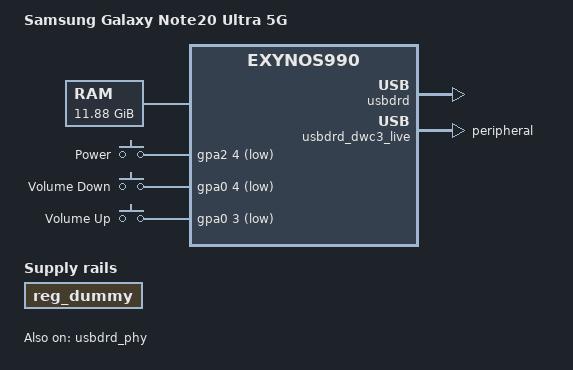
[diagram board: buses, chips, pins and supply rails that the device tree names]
// SPDX-License-Identifier: GPL-2.0 OR BSD-3-Clause
/*
 * Samsung Galaxy Note20 Ultra 5G (c2s/SM-N986B) device tree source
 *
 * Derived from exynos990-c1s.dts (Igor Belwon). Display, memory and keys
 * taken from c1s/x1s; all device-specific values are untested.
 */

/dts-v1/;
#include "exynos990.dtsi"
#include "c2s-overlay-anchors.dtsi"
#include <dt-bindings/gpio/gpio.h>
#include <dt-bindings/input/input.h>
#include <dt-bindings/interrupt-controller/irq.h>

/ {
	model = "Samsung Galaxy Note20 Ultra 5G";
	compatible = "samsung,c2s", "samsung,exynos990";

	/*
	 * Stock root cell format: lk3rd's add_dt_memory_node() overwrites
	 * /memory reg with 3-cell entries and of_flat_dt_get_addr_size_prop()
	 * only accepts reg blocks whose length is a multiple of
	 * (dt_root_addr_cells + dt_root_size_cells) * 4 == 12 bytes here.
	 * With the previous 2/2 root every 3-cell root-level reg failed the
	 * % 16 test and the kernel saw 0 bytes of RAM (silent death).
	 */
	#address-cells = <2>;
	#size-cells = <1>;

	chosen {
		ranges;
		status = "okay";

		framebuffer0: framebuffer@f1000000 {
			compatible = "simple-framebuffer";
			reg = <0 0xf1000000 (1440 * 3088 * 4)>;
			width = <1440>;
			height = <3088>;
			stride = <(1440 * 4)>;
			format = "a8r8g8b8";
		};
	};

	memory@80000000 {
		device_type = "memory";
		reg = <0x0 0x80000000 0x3ab00000>,
		      /* Memory hole */
		      <0x0 0xc1200000 0x1ee00000>,
		      /* Memory hole */
		      <0x0 0xe1900000 0x1e700000>,
		      /* Highmem, measured: RAM ends at 0xb00000000.
		       * #size-cells=1 caps each entry at 4 GiB, split into
		       * five 2 GiB chunks (0x880000000..0xb00000000).
		       */
		      <0x8 0x80000000 0x80000000>,
		      <0x9 0x00000000 0x80000000>,
		      <0x9 0x80000000 0x80000000>,
		      <0xa 0x00000000 0x80000000>,
		      <0xa 0x80000000 0x80000000>;
	};

	/* TODO: Remove this once PMIC is implemented */
	reg_dummy: regulator-0 {
		compatible = "regulator-fixed";
		regulator-name = "dummy_reg";
	};

	reserved-memory {
		/* Must equal the root cells: __reserved_mem_check_root(). */
		#address-cells = <2>;
		#size-cells = <1>;
		ranges;

		cont_splash_mem: framebuffer@f1000000 {
			reg = <0x0 0xf1000000 0x10f6800>;
			no-map;
		};

		/*
		 * Second splash-scanout candidate (see c2s_diag_bands.c).
		 * fb0 and fb1 already live in no-map reservations, so the
		 * C-level ladder could paint them after mm_core_init() while
		 * fb2 stayed ID-map-only: if DECON scans fb2 then every band
		 * from C2 on was invisible regardless of how far the kernel
		 * got, which is the ambiguity the diag7 photo showed (C1
		 * present, C2 absent).  no-map takes 17 MiB of 12 GiB out of
		 * memblock - memblock never owns it, so painting it at any
		 * point after setup_arch() is allocator-safe.
		 */
		fb2_splash_mem: framebuffer@fac00000 {
			reg = <0x0 0xfac00000 0x10f6800>;
			no-map;
		};

		abox_reserved: audio@f7fb0000 {
			reg = <0x0 0xf7fb0000 0x2a50000>;
			no-map;
		};
	};

	gpio-keys {
		compatible = "gpio-keys";

		pinctrl-0 = <&key_power &key_voldown &key_volup>;
		pinctrl-names = "default";

		power-key {
			label = "Power";
			linux,code = <KEY_POWER>;
			gpios = <&gpa2 4 GPIO_ACTIVE_LOW>;
			wakeup-source;
		};

		voldown-key {
			label = "Volume Down";
			linux,code = <KEY_VOLUMEDOWN>;
			gpios = <&gpa0 4 GPIO_ACTIVE_LOW>;
		};

		volup-key {
			label = "Volume Up";
			linux,code = <KEY_VOLUMEUP>;
			gpios = <&gpa0 3 GPIO_ACTIVE_LOW>;
		};
	};
};

&oscclk {
	clock-frequency = <26000000>;
};

&pinctrl_alive {
	key_power: key-power-pins {
		samsung,pins = "gpa2-4";
		samsung,pin-function = <EXYNOS_PIN_FUNC_EINT>;
		samsung,pin-pud = <EXYNOS_PIN_PULL_NONE>;
		samsung,pin-drv = <EXYNOS5420_PIN_DRV_LV1>;
	};

	key_voldown: key-voldown-pins {
		samsung,pins = "gpa0-4";
		samsung,pin-function = <EXYNOS_PIN_FUNC_EINT>;
		samsung,pin-pud = <EXYNOS_PIN_PULL_NONE>;
		samsung,pin-drv = <EXYNOS5420_PIN_DRV_LV1>;
	};

	key_volup: key-volup-pins {
		samsung,pins = "gpa0-3";
		samsung,pin-function = <EXYNOS_PIN_FUNC_EINT>;
		samsung,pin-pud = <EXYNOS_PIN_PULL_NONE>;
		samsung,pin-drv = <EXYNOS5420_PIN_DRV_LV1>;
	};
};

&usbdrd {
	status = "okay";
	vdd10-supply = <&reg_dummy>;
	vdd33-supply = <&reg_dummy>;
};

/*
 * The label is deliberately called usbdrd_dwc3_live (not usbdrd_dwc3) so
 * that the stock DTBO entry[7] - which references "usbdrd_dwc3" from
 * stock /__symbols__ and sets dr_mode = "otg", maximum-speed =
 * "super-speed-plus" and the vendor quirk set - lands on the *inert*
 * shell in c2s-overlay-anchors.dtsi, not on this live gadget node.
 * See the note in exynos990.dtsi.
 */
&usbdrd_dwc3_live {
	dr_mode = "peripheral";
	/*
	 * Issue #5 change C - pin the gadget to high-speed, one variable.
	 *
	 * The live node carries only the usb2-phy:
	 *   phys = <&usbdrd_phy 0>;  phy-names = "usb2-phy";
	 * There is no usb3-phy anywhere in this device tree, so a
	 * SuperSpeed link can never be brought up on this port.
	 *
	 * With no "maximum-speed" property, usb_get_maximum_speed()
	 * (drivers/usb/common/common.c:114) returns USB_SPEED_UNKNOWN, and
	 * dwc3/core.c:1949 then replaces it from hwparam_gen() - a hardware
	 * parameter, not something the DT can influence.  If that resolves
	 * to USB_SPEED_SUPER / SUPER_PLUS, __dwc3_gadget_set_speed() writes
	 * DCFG_SUPERSPEED (drivers/usb/dwc3/gadget.c:2592) and the
	 * controller arms itself for a USB 3 link the DT never gave it a
	 * PHY for.
	 *
	 * TWRP enumerates on this same port and cable as high-speed, so
	 * "high-speed" is the speed the hardware has already proven.
	 * usb_get_maximum_speed() matches the string against speed_names[]
	 * (drivers/usb/common/common.c:75), where "high-speed" is
	 * USB_SPEED_HIGH, and dwc3's switch then takes the
	 * case USB_SPEED_HIGH: break; branch (dwc3/core.c:1935), leaving
	 * DCFG at DCFG_HIGHSPEED (drivers/usb/dwc3/gadget.c:2589) instead
	 * of DCFG_SUPERSPEED.
	 *
	 * Only this one property is changed here; no vendor quirk
	 * properties are added alongside it.
	 */
	maximum-speed = "high-speed";
};

&usbdrd_phy {
	status = "okay";
	/* phy-exynos5-usbdrd.c: exynos990_usbdrd_phy sets
	 * .regulator_names = exynos5_regulator_names = { "vbus",
	 * "vbus-boost" } and n_regulators = 2; probe() bulk-gets both
	 * (devm_regulator_bulk_get) and defers forever if either is
	 * missing. Supply a dummy regulator so the PHY driver probes and
	 * the gadget can bind.  Evidence: drivers/phy/samsung/
	 * phy-exynos5-usbdrd.c:1989-1991 (exynos5_regulator_names),
	 * 2097-2108 (exynos990_usbdrd_phy), 3001-3015 (probe bulk-get).
	 * The real VBUS/booster rails (MUIC path) are still unknown, so
	 * these dummies only unblock the driver probe, not actual VBUS
	 * switching.  See c2s-rescue/docs/evidence.md.
	 */
	vbus-supply = <&reg_dummy>;
	vbus-boost-supply = <&reg_dummy>;
};
